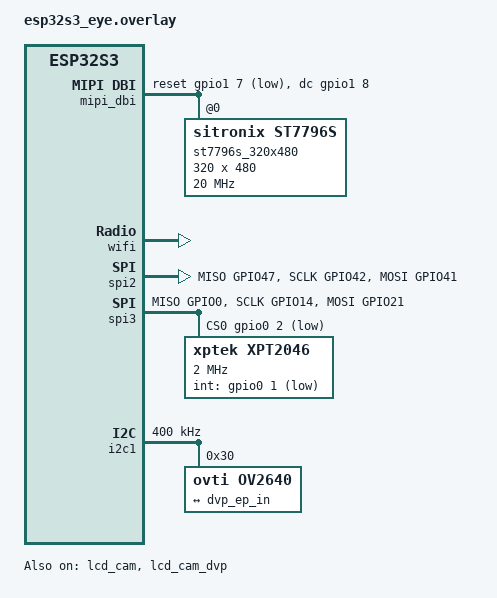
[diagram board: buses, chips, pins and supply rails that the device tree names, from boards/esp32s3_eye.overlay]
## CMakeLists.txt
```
# Устанавливаем минимально требуемую версию CMake для Zephyr.
cmake_minimum_required(VERSION 3.20.0)

# Подключаем пакет Zephyr: инициализирует всю сборочную инфраструктуру Zephyr.
# Создаём целевой объект app обладающий свойствами, зависимостями и правилами сборки.
find_package(Zephyr REQUIRED HINTS $ENV{ZEPHYR_BASE})
# Подключаем Python для Zephyr, так как он использует Python-скрипты для генерации кода.
find_package(Python REQUIRED COMPONENTS Interpreter)

# Задаём имя проекта.
project(video_server)

# Добавляем исходный файл src/main.c в целевой объект app.
target_sources(app PRIVATE src/main.c)

# Добавление подкаталога с собственной библиотекой в процесс сборки.
add_subdirectory(src/basic_functions)

# Линковка библиотеки с приложением связывает библиотеку с app.
target_link_libraries(app PRIVATE basic_functions)

# Устанавливаем переменную gen_dir — путь к каталогу сгенерированных файлов.
# Куда Zephyr и его скрипты складывают сгенерированные заголовочные файлы.
set(gen_dir ${ZEPHYR_BINARY_DIR}/include/generated/)


if(CONFIG_SERVER_TRUE)
  # Опция INCLUDE_HTML_CONTENT это CMake-переменная, которая будет использована
  # для условного включения HTML-файлов в прошивку.
  option(INCLUDE_HTML_CONTENT "Include the HTML content" ON)

  # Добавляем фрагмент скрипта компоновщика в общую сборку.
  # Этот файл определяет итерируемую ROM-секцию для дескрипторов HTTP-ресурсов.
  # Без этого файла HTTP-сервер не сможет найти зарегистрированные статические ресурсы.
  zephyr_linker_sources(SECTIONS src/static_web_resources/sections-rom.ld)

  # Zephyr создаёт специальную область памяти, где будут храниться HTTP ресурсы.
  zephyr_linker_section_ifdef(CONFIG_NET_VIDEO_HTTP_SERVICE
    NAME http_resource_desc_video_http_service
    KVMA RAM_REGION GROUP RODATA_REGION
  )

  # Цикл по списку web-ресурсов для их сжатия и дальнейшего преобразование в C-заголовочный файл с байтовым массивом.
  foreach(web_resource index.html)
    generate_inc_file_for_target(app
      src/static_web_resources/${web_resource}
      ${gen_dir}/${web_resource}.gz.inc
      --gzip
    )
  endforeach()
endif()
```

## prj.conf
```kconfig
# Включает кастомный сервис трансляции видео по WebSocket, определенный в Kconfig-файле проекта.
CONFIG_NET_VIDEO_WEBSOCKET_SERVICE=y

# Позволяет Zephyr в рантайме мониторить реальное использование стека и точно определять, если какому-то потоку начинает не хватать памяти.
CONFIG_INIT_STACKS=y
# Устанавливает размер стека главного потока main() в 4 КБ.
CONFIG_MAIN_STACK_SIZE=4096
# Размер стека системной рабочей очереди для отложенного выполнения задач.
CONFIG_SYSTEM_WORKQUEUE_STACK_SIZE=2048

# Включает интерактивную командную строку, позволяет подключаться к устройству через UART или USB-консоль и вводить команды для отладки.
CONFIG_SHELL=y
# Активирует глобальную систему логирования, которая позволяет выводить отладочные сообщения в консоль.
CONFIG_LOG=y

# Включают генераторы случайных чисел. 
# Необходимы криптографическим подсистемам и сетевому стеку для генерации случайных идентификаторов сессий и портов.
CONFIG_ENTROPY_GENERATOR=y
CONFIG_TEST_RANDOM_GENERATOR=y

# Включает встроенную в Zephyr библиотеку для работы с JSON.
CONFIG_JSON_LIBRARY=y

# Позволяет устройству выступать в роли HTTP-клиента
CONFIG_HTTP_CLIENT=y
# Активирует встроенный легковесный HTTP-сервер Zephyr для отдачи веб-страниц.
CONFIG_HTTP_SERVER=y
# Добавляет поддержку протокола WebSocket для HTTP-сервера.
CONFIG_HTTP_SERVER_WEBSOCKET=y

# Включает официальный HTTP-парсер (на базе node.js http-parser) и отдельную опцию разбора URL.
# Позволяет серверу корректно парсить входящие HTTP-запросы, заголовки и пути.
CONFIG_HTTP_PARSER_URL=y
CONFIG_HTTP_PARSER=y

# Networking config
# Главный переключатель сетевого стека Zephyr.
CONFIG_NETWORKING=y
# Включает поддержку протокола IPv4.
CONFIG_NET_IPV4=y
# Отключает IPv6 для экономии оперативной и флеш-памяти микроконтроллера.
CONFIG_NET_IPV6=n
# Включает транспортный протокол TCP (база для HTTP и WebSockets).
CONFIG_NET_TCP=y
# Включает POSIX-совместимый API сокетов (socket(), bind(), listen()), упрощающий написание сетевого кода.
CONFIG_NET_SOCKETS=y
# Менеджер сетевых подключений для координации работы интерфейсов.
CONFIG_NET_CONNECTION_MANAGER=y
# Добавляет сетевые команды в консоль (например, net iface, ping).
CONFIG_NET_SHELL=y

# Включает уровень канального доступа (Layer 2) для Ethernet-контроллеров.
CONFIG_NET_L2_ETHERNET=y
# Включает клиент DHCPv4, позволяющий устройству автоматически получать IP-адрес от роутера.
CONFIG_NET_DHCPV4=y
# Включает клиент разрешения доменных имен (DNS).
CONFIG_DNS_RESOLVER=y

# Настройка пулов памяти под сетевые пакеты (net_pkt) и блоки буферов (net_buf).
CONFIG_NET_PKT_RX_COUNT=16
CONFIG_NET_PKT_TX_COUNT=16
CONFIG_NET_BUF_RX_COUNT=128
CONFIG_NET_BUF_TX_COUNT=128
CONFIG_NET_CONTEXT_NET_PKT_POOL=y

# Network address config
# Отключение статической предконфигурации сетевых адресов.
# Поскольку выше включен DHCPv4, ручное жесткое задание IP-адресов отключено. Устройство получает параметры динамически.
CONFIG_NET_CONFIG_SETTINGS=n
CONFIG_NET_CONFIG_NEED_IPV4=n
CONFIG_NET_CONFIG_NEED_IPV6=n
# CONFIG_NET_CONFIG_MY_IPV4_ADDR="192.0.2.1"
# CONFIG_NET_CONFIG_PEER_IPV4_ADDR="192.0.2.2"
# CONFIG_NET_CONFIG_MY_IPV4_GW="192.0.2.2"
# CONFIG_NET_CONFIG_MY_IPV6_ADDR="2001:db8::1"
# CONFIG_NET_CONFIG_PEER_IPV6_ADDR="2001:db8::2"

# Убирает задержку в состоянии TIME_WAIT для закрывающихся TCP-соединений.
CONFIG_NET_TCP_TIME_WAIT_DELAY=0

# Ограничение максимального числа одновременных сетевых контекстов и TCP-соединений до 10.
# Предотвращает перерасход оперативной памяти
CONFIG_NET_MAX_CONTEXTS=10
CONFIG_NET_MAX_CONN=10

# Подсистема управления сетью и генерации событий.
# Позволяет коду приложения отслеживать системные события (например, «линк поднят», «IP получен») через колбэки.
CONFIG_NET_MGMT=y
CONFIG_NET_MGMT_EVENT=y


# General config
# Требует подключения полной стандартной библиотеки языка C (а не урезанной мини-версии вроде picolibc).
# Необходима для корректной работы сторонних библиотек и сложных алгоритмов обработки данных.
CONFIG_REQUIRES_FULL_LIBC=y
# Подсистема ввода (кнопки, датчики).
CONFIG_INPUT=y
# Включает шину SPI (используется для дисплеев или камер).
CONFIG_SPI=y
# Базовый контроль портов ввода-вывода (управление пинами).
CONFIG_GPIO=y
# CONFIG_LED=y

# Подсистема захвата и обработки видео (работа с камерами, фреймбуферами).
CONFIG_VIDEO=y
# Подсистема вывода графики на экран дисплея.
CONFIG_DISPLAY=y
# Включает UART/USB консоль для управления устройствами.
CONFIG_DEVICE_SHELL=y

# Включает быстрый вывод сообщений ядра в консоль.
CONFIG_PRINTK=y
# Включает поддержку вывода чисел с плавающей точкой (float/double) в функциях форматированного вывода (printk/printf).
CONFIG_CBPRINTF_FP_SUPPORT=y
# Гарантирует поддержку вывода float на уровне глобального форматирования.
CONFIG_REQUIRES_FLOAT_PRINTF=y

# Подключить API обёртку для POSIX (Portable Operating System Interface) стандарта.
CONFIG_POSIX_API=y
# Event File Descriptors - включает поддержку механизма POSIX-совместимого способа уведомления о событиях через файловые дескриптор.
CONFIG_EVENTFD=y

# ZVFS (Zephyr Virtual Filesystem) - мост между Zephyr и стандартами POSIX/C для работы с файлами, сокетами и устройствами.
# Значение 32 означает, что можно одновременно опрашивать до 32 сокетов или других файловых дескрипторов. 
CONFIG_ZVFS_POLL_MAX=32
# Максимальное количество событий для сетевых подсистем (HTTP-сервер, CoAP-сервер, LwM2M, PTP, SSH, socket service) .
CONFIG_ZVFS_EVENTFD_MAX=4
# Дополнительное количество слотов для открытых файловых дескрипторов для обработки одновременных клиентских соединений.
CONFIG_ZVFS_OPEN_ADD_SIZE_NET_SAMPLE=24


# Включение алгоритма хеширования SHA-1 в криптографическом бэкенде mbedTLS (через стандартизированный API PSA Crypto).
# Протокол WebSocket на этапе рукопожатия (Sec-WebSocket-Accept) требует обязательного вычисления хеша SHA-1 от специального ключа клиента.
CONFIG_PSA_WANT_ALG_SHA_1=y
CONFIG_MBEDTLS_SHA1=y
```

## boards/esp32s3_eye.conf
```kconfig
# ---------------------------------------------------------------------------------------------------------------------------------------------
# west build -p always -b esp32s3_eye/esp32s3/procpu -- -DDTC_OVERLAY_FILE=boards/esp32s3_eye.overlay -DEXTRA_CONF_FILE=boards/esp32s3_eye.conf
# ---------------------------------------------------------------------------------------------------------------------------------------------

# Указываем что платформой для проекта выбрана плата ESP32.
CONFIG_ESP32_TRUE=y
# Включаем в проект сервер.
CONFIG_SERVER_TRUE=y
# Включаем в проект дисплей.
CONFIG_DISPLAY_TRUE=y

# Включает подсистему беспроводной связи Wi-Fi в Zephyr.
CONFIG_WIFI=y
# Выделяет пул памяти размером 76 800 байт (около 75 КБ) специально под видеоданные.
CONFIG_VIDEO_BUFFER_POOL_HEAP_SIZE=76800
# Ограничивает максимальное количество одновременных видеобуферов в пуле до 2 штук.
CONFIG_VIDEO_BUFFER_POOL_NUM_MAX=2
# Включает поддержку внешней оперативной памяти (PSRAM).
CONFIG_ESP_SPIRAM=y
# Устанавливает режим работы с PSRAM памятью в Octal (8 линий данных).
CONFIG_SPIRAM_MODE_OCT=y
# Выравнивание видеобуферов по границе 32 байт.
CONFIG_VIDEO_BUFFER_POOL_ALIGN=32
# Захват видео с камеры идет через контроллер DMA (прямой доступ к памяти) без участия процессора.
# Зарезервировать в памяти место под цепочку из 64 дескрипторов для корректного захвата кадра.
CONFIG_DMA_ESP32_MAX_DESCRIPTOR_NUM=64
# Подключает менеджер разделяемой многоуровневой кучи (Shared Multi-Heap) для распределения памяти между внутренней SRAM и внешней PSRAM.
CONFIG_VIDEO_BUFFER_USE_SHARED_MULTI_HEAP=y
# Атрибут 2 указывает на пул внешней PSRAM.
CONFIG_VIDEO_BUFFER_SMH_ATTRIBUTE=2
# Размер кадра захваченого камерой.
CONFIG_VIDEO_FRAME_HEIGHT=120
CONFIG_VIDEO_FRAME_WIDTH=160
# Устанавливает формат пикселей RGBP (соответствует стандарту RGB565 — 16 бит на пиксель).
CONFIG_VIDEO_PIXEL_FORMAT="RGBP"
# Vertical Flip (зеркальное отражение по вертикали).
CONFIG_VIDEO_CTRL_VFLIP=n
# Horizontal Flip (зеркальное отражение по горизонтали).
CONFIG_VIDEO_CTRL_HFLIP=y

# Автоматический запуск DHCP-клиента при успешном подключении ESP32 к точке доступа (в режиме Station).
# Как только Wi-Fi устанавливает соединение с роутером, стек автоматически запрашивает IP-адрес,
CONFIG_ESP32_WIFI_STA_AUTO_DHCPV4=y

# Перенаправление выделения памяти для Wi-Fi драйвера Espressif во внутреннюю системную кучу Zephyr.
CONFIG_ESP_WIFI_HEAP_SYSTEM=y
```

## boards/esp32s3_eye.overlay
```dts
// ---------------------------------------------------------------------------------------------------------------------------------------------
// west build -p always -b esp32s3_eye/esp32s3/procpu -- -DDTC_OVERLAY_FILE=boards/esp32s3_eye.overlay -DEXTRA_CONF_FILE=boards/esp32s3_eye.conf
// ---------------------------------------------------------------------------------------------------------------------------------------------

/* ----------------------|  Display  |---------------------  */
/* https://www.lcdwiki.com/4.0inch_SPI_Module_ST7796 */

// MIPI DBI (Display Bus Interface) - универсальный драйвер-адаптер для управления LCD-контроллерами через SPI.
#include <zephyr/dt-bindings/mipi_dbi/mipi_dbi.h>

/* Узел chosen - Zephyr узел, который указывает какие устройства использовать в этом приложении. */
/ {
    	chosen {
		/* Свойство zephyr,display -  Ключ (property name) в формате vendor,property
			- vendor = zephyr (производитель/namespace)
			- property = display (сущность, которую описывает свойство)
		Присваивание значения - phandle (указатель на узел)
			- & - оператор взятия ссылки на узел
			- st7796s_320x480 - label (метка) другого узла в DTS */
        zephyr,display = &st7796s_320x480;

		/* Свойство zephyr,camera -  Ключ (property name) в формате vendor,property
			- vendor = zephyr (производитель/namespace)
			- property = camera (сущность, которую описывает свойство)
		Присваивание значения - phandle (указатель на узел)
			- & - оператор взятия ссылки на узел
			- lcd_cam_dvp - label (метка) другого узла в DTS */
		zephyr,camera = &lcd_cam_dvp;

		/* Свойство zephyr,touch - обязательно для sample draw_touch_events
		(README сэмпла явно требует, чтобы были заданы оба chosen: zephyr,display И zephyr,touch).
			- vendor = zephyr
			- property = touch
		Присваивание значения - phandle на узел xpt2046, объявленный ниже, внутри &spi3
		(отдельная от дисплея SPI-шина, см. пояснение у узла &spi3). */
		zephyr,touch = &xpt2046;
    	};


	/* Узел mipi_dbi реализует транспортный уровень между:
		- драйвером дисплейного контроллера ST7796S
		- SPI-контроллером ESP32
		- GPIO сигналами (DC, RESET) */
    	mipi_dbi {
		// Использовать драйвер mipi_dbi_spi
		compatible = "zephyr,mipi-dbi-spi";
		// Определить SPI контроллер через ссылку на узел spi2 в devicetree.
		spi-dev = <&spi2>;
		// Определить пин для переключения режима SPI передачи (DC (Data/Command)).
		dc-gpios = <&gpio1 8 GPIO_ACTIVE_HIGH>;  // DC/RS pin
		// Определить пин для аппаратного reset дисплея.
        reset-gpios = <&gpio1 7 GPIO_ACTIVE_LOW>;   // RESET pin
		// Адрес устройства на шине занимает одну 32-битную ячейку.
		#address-cells = <1>;
		// Размер не задаётся (SPI-устройства не имеют диапазона адресов).
		#size-cells = <0>;

		/* Объявление узла st7796s_320x480 дисплея:
		- st7796s_320x480: - Label (метка) для этого узла, используется для ссылок.
		- st7796s@0 - Имя узла в формате name@unit-address
			+ st7796s - имя (произвольное, описательное)
			+ @ - разделитель
			+ 0 - unit address (адрес устройства на шине), взят из datasheet.*/
		st7796s_320x480: st7796s@0 {
			// Использовать драйвер дисплея "sitronix,st7796s".
			compatible = "sitronix,st7796s";
			// Включить устройство.
			status = "okay";
			// Адрес устройства на шине, взят из datasheet.
            		reg = <0>;
			// Максимальная тактовая частота SPI для дисплея.
			mipi-max-frequency = <20000000>;
			// 4 линии для SPI: CLK, MOSI, MISO, CS + отдельный DC пин.
			mipi-mode = "MIPI_DBI_MODE_SPI_4WIRE";
			// Ширина дисплея.
			width = <320>;
			// Высота дисплея.
			height = <480>;

			/* Регистр в контроллере дисплея через который задаются параметры:
			 * D7 - зеркалит по вертикали (Y).
			 * D6 - зеркалит по горизонтали (X).
			 * D5 - меняет X и Y местами (поворот на 90°).
			 * D4 - Направление обновления (сверху вниз или снизу вверх).
			 * D3 - Порядок цветов в памяти (RGB-BGR).
			 * D2 - Направление обновления по горизонтали.
			 * D1 - Не используется (Reserved).
			 * D0 - Не используется (Reserved).
			 * D7 D6 D5 D4 D3 D2 D1 D0
			 * 0  1  1  0  1  0  0  0  ==  104 (перевод из двоичной в десятичную)
			 * 1  1  0  0  1  0  0  0  ==  200 (перевод из двоичной в десятичную)*/
			// madctl = <104>;
			madctl = <72>;
			// madctl = <40>;

			// Настройка gamma curve для ярких цветов.
			//pgc = [00];
			pgc = [D0 06 0C 0E 09 0B 38 34 48 05 13 14 10 14];

			// Настройка gamma curve для тёмных цветов.
			//ngc = [00];
			ngc = [D0 01 06 0C 0C 0F 31 3F 47 0A 16 16 17 16];
		};
	};
};


/* Включаем wifi на плате. */
&wifi {
    status = "okay";
};

/* Переопределяем базовый узел spi2 описывающий SPI контроллер ТОЛЬКО для дисплея.
 * Тач-панель сюда больше НЕ подключаем - см. &spi3 ниже.
 *
 * ПОЧЕМУ: в драйвере ESP32 SPI (spi_esp32_spim.c) есть известный, подтверждённый
 * race condition при использовании нескольких программных cs-gpios на одной шине -
 * CS одного устройства не всегда корректно деактивируется перед транзакцией другого,
 * из-за чего оба чипа временно оказываются выбраны одновременно и конфликтуют на общей
 * линии MISO (мы поймали это осциллографом: CS дисплея дёргался во время транзакций
 * тача, а MISO не проваливался до 0В, а зависал на промежуточном уровне ~1.5В - явный
 * признак коллизии двух выходов на одной линии). См. github.com/zephyrproject-rtos/zephyr
 * issue #65635 ("SPI: ESP32: chip-select misbehaviour with multiple gpio-cs") и issue
 * #100069 (похожая проблема конкретно с mipi-dbi-spi на ESP32-S3). Самое надёжное
 * решение - развести устройства по разным аппаратным SPI-контроллерам (spi2/spi3),
 * а не делить один контроллер несколькими cs-gpios. */
&spi2 {
	// Адрес устройства на шине занимает одну 32-битную ячейку.
	#address-cells = <1>;
	// Размер не задаётся (SPI-устройства не имеют диапазона адресов).
	#size-cells = <0>;
	// Привязка к конфигурации пинов.
	pinctrl-0 = <&spi2_custom_pins>;
	pinctrl-names = "default";
	// Включить устройство.
    status = "okay";
	// Единственное устройство на шине - дисплей, поэтому один CS достаточно и
	// гонка между несколькими cs-gpios здесь в принципе невозможна.
	cs-gpios = <&gpio1 6 GPIO_ACTIVE_LOW>;   /* CS0: дисплей ST7796 (GPIO38, как и было изначально) */
};

/* Переопределяем конфигурацию пинов SPI2 (только дисплей). */
&pinctrl {
    spi2_custom_pins: spi2_custom_pins {
        group1 {
			pinmux = <SPIM2_MISO_GPIO47>,     // MISO pin (SDO on display)
				     <SPIM2_SCLK_GPIO42>;      // SCK pin
		};
		group2 {
			pinmux = <SPIM2_MOSI_GPIO41>;      // MOSI pin (SDI on display)
			output-low;
		};
    };
};

/* ----------------------|  TOUCH XPT2046 (отдельная шина SPI3)  |---------------------  */

/* Тач-панель посажена на ВТОРОЙ независимый аппаратный SPI-контроллер (spi3), а не
 * на spi2 вместе с дисплеем. Так как на этой шине только одно устройство, гонка между
 * несколькими cs-gpios (см. пояснение у &spi2 выше) физически невозможна - конфликтовать
 * попросту не с чем.
 *
 * ВНИМАНИЕ: T_CLK/T_DIN/T_DO нужно физически перепаять/перекинуть проводом с GPIO42/41/47
 * (где они были при разделяемой шине) на GPIO14/21/19 ниже. T_CS (GPIO2) и T_IRQ (GPIO1)
 * менять не нужно - осциллограф уже подтвердил, что они физически подключены верно и
 * работают (T_IRQ корректно падает при касании, T_CS корректно даёт короткий импульс).
 *
 * GPIO14 и GPIO21 - это обычные, не strapping GPIO на ESP32-S3, в этом проекте нигде
 * больше не заняты (камера/дисплей/PSRAM/Flash их не используют). GPIO19 - это, как
 * правило, вывод USB D- (native USB OTG); большинство CAM-плат на базе ESP32-S3-CAM
 * используют для прошивки/UART отдельный USB-UART мост (CP2102/CH340), а не native USB,
 * и тогда GPIO19/20 свободны - но это НУЖНО проверить по схеме именно вашей платы. Если
 * сомневаетесь - замените GPIO19 на любой другой проверенно свободный пин. */
&spi3 {
	#address-cells = <1>;
	#size-cells = <0>;
	status = "okay";
	pinctrl-0 = <&spi3_custom_pins>;
	pinctrl-names = "default";
	// Единственное устройство на шине - тач, поэтому один CS достаточно.
	cs-gpios = <&gpio0 2 GPIO_ACTIVE_LOW>;   /* CS0: тач-панель T_CS (GPIO2) */

	xpt2046: xpt2046@0 {
		// Драйвер xptek,xpt2046 (drivers/input/input_xpt2046.c)
		compatible = "xptek,xpt2046";
		// Единственное устройство на шине spi3 -> индекс 0 в cs-gpios.
		reg = <0>;
		// Макс. частота SPI для XPT2046 (датащит допускает до ~2 МГц-2.5МГц в этом режиме чтения).
		spi-max-frequency = <2000000>;
		// T_IRQ (PENIRQ) - открытый сток, активный низкий уровень при касании.
		int-gpios = <&gpio0 1 GPIO_ACTIVE_LOW>;
		// Логическое разрешение, в которое драйвер маппит "сырые" координаты АЦП.
		// Взято равным width/height дисплея (320x480), см. узел st7796s_320x480 выше.
		touchscreen-size-x = <320>;
		touchscreen-size-y = <480>;
		// Диапазон "сырых" значений АЦП XPT2046 (12-бит -> 0..4095).
		// Это стартовые значения "по датащиту" - реальный рабочий диапазон обычно уже
		// (например 200..3900) и может требовать инверсии/свопа осей в зависимости от
		// физической ориентации панели относительно madctl дисплея. Требуется калибровка
		// через сам сэмпл draw_touch_events (по нему легко увидеть инверсию/своп осей).
		min-x = <0>;
		min-y = <0>;
		max-x = <4095>;
		max-y = <4095>;
	};
};

&pinctrl {
	spi3_custom_pins: spi3_custom_pins {
		group1 {
			pinmux = <SPIM3_MISO_GPIO0>,       // T_DO  (было GPIO47, ПЕРЕПАЯТЬ - проверить свободен ли GPIO19)
				     <SPIM3_SCLK_GPIO14>;      // T_CLK (было GPIO42, ПЕРЕПАЯТЬ)
		};
		group2 {
			pinmux = <SPIM3_MOSI_GPIO21>;      // T_DIN (было GPIO41, ПЕРЕПАЯТЬ)
			output-low;
		};
	};
};

// Отключить дисплей предусмотренный по умолчанию.
&st7789v {
    status = "disabled";
};

/* ----------------------|  CAMERA OV2640  |---------------------  */


/* ESP32-S3 DVP-контроллер использует DMA для передачи пикселей с модуля камеры в PSRAM/SRAM микроконтроллера без участия CPU. */
&dma {
	// Включить устройство.
	status = "okay";
};

/* Переопределяем базовый узел i2c1 описывающий I2C контроллер для камеры. */
&i2c1 {
	// Включить устройство.
	status = "okay";
	// Частота работы I2C шины в Герцах. (I2C_BITRATE_FAST = 400000 (400 kHz (400,000 Hz)))
	clock-frequency = <I2C_BITRATE_FAST>; // <I2C_BITRATE_STANDARD>
	// Привязка к конфигурации пинов.
	pinctrl-0 = <&i2c1_default>;
	pinctrl-names = "default";

	/* Объявление узла OV2640 камеры
		- ov2640: - Label (метка) для этого узла
		- ov2640@30 - Имя узла в формате name@unit-address
			+ ov2640 - имя (произвольное, описательное)
			+ @ - разделитель
			+ 30 - unit address (адрес устройства на шине), взят из datasheet для OV2640.*/
	ov2640: ov2640@30 {
		// Использовать драйвер камеры "sitronix,st7796s".
		compatible = "ovti,ov2640";
		// Адрес устройства на шине I2C, взят из datasheet для OV2640.
		reg = <0x30>;
		// Включить устройство.
		status = "okay";
		// Дополнительный контроль частоты, специфичное для OV2640 свойство.
		clock-rate-control = <0x80>;

		/* Узел port - Video Graph binding.
			- Специальная структура для описания видео-потоков, описывает соединения между видео-компонентами.*/
		port {
			/* Узел endpoint - точка подключения
				- ov2640_ep_out: - Label для endpoint (ep = endpoint, out = выходной (от камеры наружу))
				- endpoint - стандартное имя узла для Video Graph */
			ov2640_ep_out: endpoint {
				// Связь с другим endpoint, указывает на label endpoint на другой стороне соединения.
				remote-endpoint = <&dvp_ep_in>;
			};
		};
	};
};


/* Универсальный периферийный контроллер, который может работать в двух режимах:
 *  LCD mode  → управление дисплеями / CAM mode  → интерфейс камеры  */
&lcd_cam {
	// Включить устройство.
	status = "okay";
	// Привязка к конфигурации пинов (включает все пины камеры).
	pinctrl-0 = <&lcd_cam_default>;
	pinctrl-names = "default";
};

/* DCMI (Digital Camera Module Interface (аппаратный модуль для захвата видео, принимает параллельный поток от камеры))
 * DVP (Digital Video Port (параллельный интерфейс камеры))
	- &lcd_cam_dvp - ссылка на DCMI контроллер */
&lcd_cam_dvp {
	// Включить устройство.
	status = "okay";
	// Частота тактирования XCLK, подаваемая ESP32-S3 на вход камеры OV2640
	// cam-clk = <10000000>; // <8000000>
	cam-clk = <4000000>;
	// Указывает, что источником видеопотока для DVP является OV2640.
	source = <&ov2640>;

	/* Узел port - Video Graph binding.
		- Специальная структура для описания видео-потоков, описывает соединения между видео-компонентами. */
	port {
		/* Узел endpoint - точка подключения
			- dvp_ep_in: - Label для endpoint
			- endpoint - стандартное имя узла для Video Graph*/
		dvp_ep_in: endpoint {
			// Указывает на камеру: Данные от ov2640_ep_out поступают сюда
			remote-endpoint = <&ov2640_ep_out>;
			// Ширина шины данных, количество линий данных между камерой и DCMI (8-bit параллельная шина)
			bus-width = <8>;
			// Камера подает импульс в начале каждой горизонтальной линии пикселей (Полярность [<0> = low, <1> = high])
			hsync-active = <0>;
			// Камера подает импульс в начале каждого кадра (Полярность [<0> = low, <1> = high])
			vsync-active = <0>;
			// На каком фронте Pixel Clock захватывать данные ([<0> = falling edge, <1> = rising edge])
			pclk-sample = <1>;
		};
	};
};




/* Распиновка для устройств:

	ST7796S          →    ESP32-S3
	────────────────────────────────
	VCC     (3.3V!)  →    3V3
	GND              →    GND
	CS               →    GPIO38
	RESET            →    GPIO39
	DC/RS            →    GPIO40
	SDI (MOSI)       →    GPIO41
	SCK              →    GPIO42
	LED              →    3V3 (через резистор 150Ω)
	SDO (MISO)       →    GPIO47 (опционально)

	XPT2046 (touch)  →    ESP32-S3     (ОТДЕЛЬНАЯ шина SPI3, НЕ общая с дисплеем!)
	────────────────────────────────
	T_CLK            →    GPIO14  (ПЕРЕПАЯТЬ с GPIO42 - проверить, что пин свободен на вашей плате)
	T_CS             →    GPIO2   (не менять, уже подтверждено осциллографом)
	T_DIN            →    GPIO21  (ПЕРЕПАЯТЬ с GPIO41 - проверить, что пин свободен на вашей плате)
	T_DO             →    GPIO0  (ПЕРЕПАЯТЬ с GPIO47 - проверить, что не задействован под native USB)
	T_IRQ            →    GPIO1   (не менять, уже подтверждено осциллографом)

	ESP32S3 →   CAMERA
	────────────────────────
	GPIO4      →   CAM_SIOD
	GPIO5      →   CAM_SIOC
	GPIO6      →   CAM_VYSNC
	GPIO7      →   CAM_HREF
	GPIO15     →   CAM_XCLK
	GPIO16     →   CAM_Y9
	GPIO17     →   CAM_Y8
	GPIO18     →   CAM_Y7
	GPIO8      →   CAM_Y4
	GPIO9      →   CAM_Y3
	GPIO10     →   CAM_Y5
	GPIO11     →   CAM_Y2
	GPIO12     →   CAM_Y6
	GPIO13     →   CAM_PCLK
*/
```

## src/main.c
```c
/********************************************
    Подготовил: Степанюк Денис Борисович
********************************************/

// Стандартный ввод-вывод для логирования
#include <stdio.h>
// Макросы для форматирования целых чисел фиксированного размера.
#include <inttypes.h>
// Основные функции RTOS: потоки, таймеры, семафоры
#include <zephyr/kernel.h>
// Системные утилиты: BIT(), ARRAY_SIZE(), STRINGIFY(), и т.д.
#include "zephyr/sys/util.h"
// Парсинг и генерация JSON.
#include <zephyr/data/json.h>
// Дополнительные макросы (BIT_MASK(n) — маска из n единичных битов. BIT_MASK(2) = 0b11 = 3 (используется для проверки результата json_obj_parse)).
#include <zephyr/sys/util_macro.h>
// Работа с кэшем процессора.
#include <zephyr/cache.h>
// Используется для DEVICE_DT_GET_ANY() — получить указатель на устройство из Device Tree.
#include <zephyr/device.h>
// API видеоподсистемы: video_dequeue, video_enqueue, video_stream_start
#include <zephyr/drivers/video.h>
// Элементы управления камеры (яркость, экспозиция и т.д.)
#include <zephyr/drivers/video-controls.h>
// Логика видеоподсистемы.
#include "video.h"

// Регистрируем модуль логирования.
#include <zephyr/logging/log.h>
LOG_MODULE_REGISTER(MAIN_LOG, LOG_LEVEL_DBG);

// Код компилируется только при включённом через конфиг дисплее в проект.
#if defined(CONFIG_DISPLAY_TRUE)
    // Драйвер дисплея.
    #include <zephyr/drivers/display.h>
    // Логика работы с дисплеем.
    #include "display.h"
#endif /* CONFIG_DISPLAY_TRUE */  

// Код компилируется только при включённом через конфиг сервере в проект.
#if defined(CONFIG_SERVER_TRUE)
    // Логика WebSocket-сервера.
    #include "server.h"
    /* Высокоуровневая подсистема HTTP-сервера для Zephyr
    - Принимает TCP соединения
    - Парсит HTTP запросы
    - Маршрутизирует по URL → вызывает нужный handler
    - Выполняет WebSocket Upgrade (SHA1, Base64 — скрыто внутри)
    - Управляет потоками клиентов*/
    #include <zephyr/net/http/server.h>
    // Макросы для объявления HTTP/HTTPS сервисов и ресурсов:
    #include <zephyr/net/http/service.h>
    // Работа с IP-адресами и вспомогательными функциями сетевого стека. Нужен для типов адресов (sockaddr_in и т.д.) которые использует сервис.
    #include <zephyr/net/net_ip.h>
    // BSD Sockets API (zsock_*). Используется внутри WebSocket-колбэков для низкоуровневой работы с сокетами (websocket_send_msg и др.).
    #include <zephyr/net/socket.h>
    // Инициализация сетевого стека через конфиг. Используется только при CONFIG_USB_DEVICE_STACK_NEXT.
    #include <zephyr/net/net_config.h>

    // Код компилируется при условии что платформой для проекта выбрана плата STM32.
    #if defined(CONFIG_STM32_TRUE)
        // Логика подключения к интернету по dhcp.
        #include "dhcp.h"
    #endif /* CONFIG_STM32_TRUE */

    // Код компилируется при условии что платформой для проекта выбрана плата ESP32.
    #if defined(CONFIG_ESP32_TRUE)
        // Логика подключения к интернету по wifi.
        #include "wifi.h"

        /* Параметры WiFi */
        #define WIFI_SSID "NAME"
        #define WIFI_PSK "PASSWORD"
    #endif /* CONFIG_ESP32_TRUE */

    /* Сжатая gzip-версия главной HTML страницы. Файл index.html во время сборки преобразуется в массив байтов и вшивается непосредственно в прошивку.*/
    static const uint8_t index_html_gz[] = {
    #include "index.html.gz.inc"
    };

    /* Описание статического HTTP ресурса. При запросе: GET / 
    HTTP Server автоматически отправит содержимое index_html_gz без вызова пользовательского обработчика.*/
    static struct http_resource_detail_static index_html_gz_resource_detail = {
        .common = {
                .type = HTTP_RESOURCE_TYPE_STATIC, // Тип ресурса: статический файл. HTTP Server сам отправит данные без вызова колбэка.
                .bitmask_of_supported_http_methods = BIT(HTTP_GET), // Поддерживаемые HTTP-методы — битовая маска.
                .content_encoding = "gzip", // HTTP заголовок Content-Encoding: gzip. Говорит браузеру что данные сжаты gzip → браузер распакует.
                .content_type = "text/html", // HTTP заголовок Content-Type: text/html. Браузер будет рендерить как HTML.
            },
        .static_data = index_html_gz, // Указатель на данные (наш gzip-массив).
        .static_data_len = sizeof(index_html_gz), // Размер данных в байтах — сервер отправит ровно столько байт.
    };

    // Блок компилируется только при CONFIG_NET_VIDEO_WEBSOCKET_SERVICE=y в prj.conf. Это позволяет собирать проект без WebSocket если он не нужен.
    #if defined(CONFIG_NET_VIDEO_WEBSOCKET_SERVICE)

    /* Буфер WebSocket подсистемы. Используется HTTP Server во время обработки входящих
    WebSocket сообщений. Видеокадры через этот буфер НЕ передаются.*/
    static uint8_t ws_net_video_buffer[128];

    /* Описание WebSocket ресурса.
    После подключения клиента вызывается: ws_net_video_setup() которая запускает периодическую отправку видеокадров.*/
    struct http_resource_detail_websocket ws_net_video_resource_detail = {
        .common = {
                .type = HTTP_RESOURCE_TYPE_WEBSOCKET, // Тип ресурса: WebSocket.
                .bitmask_of_supported_http_methods = BIT(HTTP_GET), // WS-апгрейд начинается с GET-запроса.
            },
        .cb = ws_net_video_setup, // Колбэк: запускает поток, шлющий видеокадры клиенту.
        .data_buffer = ws_net_video_buffer, // Буфер под входящие WS-сообщения.
        .data_buffer_len = sizeof(ws_net_video_buffer), // Размер этого буфера (128 байт).
        .user_data = NULL, // Пользовательские данные не нужны.
    };

    #endif /* CONFIG_NET_VIDEO_WEBSOCKET_SERVICE */

    /* Декларативная регистрация сервера. С помощью макросов собираем "дерево" веб-сервера. 
       Во время компиляции Zephyr сложит их в специальную секцию памяти, и сервер запустится автоматически.*/
    #if defined(CONFIG_NET_VIDEO_HTTP_SERVICE)
    // TCP порт для HTTP сервера. По умолчанию CONFIG_NET_VIDEO_HTTP_SERVER_SERVICE_PORT=80.
    static uint16_t video_http_service_port = CONFIG_NET_VIDEO_HTTP_SERVER_SERVICE_PORT;

    /* Регистрация HTTP сервиса. После вызова http_server_start() сервер автоматически найдёт
    этот сервис и начнёт принимать подключения. */
    HTTP_SERVICE_DEFINE(video_http_service, // Имя сервиса (уникальный идентификатор)
                        NULL, // IP-адрес для привязки (NULL = INADDR_ANY)
                        &video_http_service_port, // Указатель на порт.
                        CONFIG_HTTP_SERVER_MAX_CLIENTS, // Макс. одновременных клиентов из prj.conf.
                        10,  // Backlog (очередь ожидающих соединений)
                        NULL, // Колбэк при старте (не нужен)
                        NULL, // Колбэк при остановке (не нужен)
                        NULL); // Пользовательские данные

    /*  Главная HTML страница.
        HTTP_RESOURCE_DEFINE — макрос, привязывающий URL к ресурсу (статическому, динамическому или WebSocket).*/
    HTTP_RESOURCE_DEFINE(index_html_gz_resource, video_http_service, "/", &index_html_gz_resource_detail);

    #if defined(CONFIG_NET_VIDEO_WEBSOCKET_SERVICE)
    // WebSocket-ресурсы регистрируются точно так же: URL может быть любым, не конфликтующим.
    HTTP_RESOURCE_DEFINE(ws_net_video_resource, video_http_service, "/", &ws_net_video_resource_detail);
    #endif /* CONFIG_NET_VIDEO_WEBSOCKET_SERVICE */
    #endif /* CONFIG_NET_VIDEO_HTTP_SERVICE */

#endif /* CONFIG_SERVER_TRUE */




int main(void)
{
    // Устройство камеры, выбранное в Device Tree через /chosen { zephyr,camera = ... }.
    const struct device *const video_dev   = DEVICE_DT_GET(DT_CHOSEN(zephyr_camera));

    // Код компилируется только при включённом через конфиг дисплее в проект.
    #if defined(CONFIG_DISPLAY_TRUE)
        // Устройство дисплея из Device Tree (/chosen zephyr,display).
        const struct device *const display_dev = DEVICE_DT_GET_OR_NULL(DT_CHOSEN(zephyr_display));
    #endif /* CONFIG_DISPLAY_TRUE */  

    // Указатель на буфер кадра. Изначально указывает на пустую структуру; video_dequeue() перезапишет его.
    struct video_buffer *vbuf = &(struct video_buffer){};
    // Указываем тип буфера — выходной (кадры идут от камеры к приложению).
    vbuf->type = VIDEO_BUF_TYPE_OUTPUT;
    // Формат кадра (разрешение, pixelformat). Заполнится при инициализации камеры.
    struct video_format fmt   = { .type = VIDEO_BUF_TYPE_OUTPUT };
    // Возможности камеры (поддерживаемые форматы и т.п.). Заполнятся при инициализации.
    struct video_caps   caps  = { .type = VIDEO_BUF_TYPE_OUTPUT };
    // Переменная для хранения кодов возврата.
    int ret;

    // Выполнить полный цикл инициализации видеоустройства (камеры) перед запуском видеопотока.
    ret = app_init_video(video_dev, &caps, &fmt);
    if (ret < 0) { goto err; }

    // Код компилируется только при включённом через конфиг дисплее в проект.
    #if defined(CONFIG_DISPLAY_TRUE)
        // Проверка: описан ли дисплей в Device Tree.
        if (DT_HAS_CHOSEN(zephyr_display)) {
            // Настраиваем дисплей под формат пикселей камеры.
            ret = app_setup_display(display_dev, fmt.pixelformat);
            if (ret < 0) { goto err; }
            // Очищаем экран перед началом вывода от шумов.
            ret = app_clear_display(display_dev);
            if (ret < 0) { goto err; }
        }
    #endif /* CONFIG_DISPLAY_TRUE */  

    // Поднимаем сеть, DHCP или WiFi, в зависимости от того какая платформа была выбрана для проекта.
    // Код компилируется только при включённом через конфиг сервере в проект.
    #if defined(CONFIG_SERVER_TRUE)
        // Код компилируется при условии что платформой для проекта выбрана плата STM32.
        #if defined(CONFIG_STM32_TRUE)
            // Указатель на сетевой интерфейс (Ethernet).
            struct net_if *iface;
            // Инициализируем колбэк: handler вызовется, когда интерфейсу назначат IPv4-адрес.
            net_mgmt_init_event_callback(&mgmt_cb, handler, NET_EVENT_IPV4_ADDR_ADD);
            // Регистрируем колбэк в сетевом менеджере событий.
            net_mgmt_add_event_callback(&mgmt_cb);
            // Получаем сетевой интерфейс по умолчанию.
            iface = net_if_get_default();
            // Запускаем DHCP-клиент (адрес придёт асинхронно). 
            net_dhcpv4_start(iface);
        #endif /* CONFIG_STM32_TRUE */

        // Код компилируется при условии что платформой для проекта выбрана плата ESP32.
        #if defined(CONFIG_ESP32_TRUE)
            // Регистрируем WiFi-колбэки.
            wifi_init();

            /* 2. Запускаем подключение к роутеру */
            printk("Connecting to WiFi: %s\r\n", WIFI_SSID);
            if (wifi_connect(WIFI_SSID, WIFI_PSK) != 0) {
                printk("Error: WiFi connect failed\r\n");
                return 0;
            }

            /* 3. Ждем получения IP-адреса от DHCP (блокирующе) */
            wifi_wait_for_ip_addr();
            printk("WiFi Connected and IP obtained! Starting HTTP Server...\n");
        #endif /* CONFIG_ESP32_TRUE */
        // -----------------------------------------------------------------
   
        // ГЛАВНАЯ ФУНКЦИЯ — запускает HTTP/WebSocket сервер.
        http_server_start();
    #endif /* CONFIG_SERVER_TRUE */

    // Запуск видеопотока камеры, камера начинает захватывать кадры в буферы через DMA.
    LOG_INF("Capture started");
    ret = video_stream_start(video_dev, VIDEO_BUF_TYPE_OUTPUT);
    if (ret < 0) {
        LOG_ERR("Unable to start capture (interface)");
        goto err;
    }
	/* ============================================================
     * ГЛАВНЫЙ ЦИКЛ ЗАХВАТА КАДРОВ
     *   1. video_dequeue() — извлечь готовый кадр
     *   2. (опционально) memcpy → k_sem_give — передать кадр для дальнейшей обработки
     *   3. video_enqueue() — вернуть буфер драйверу
     * ============================================================ */
    while (1) {
        /* Блокирующее ожидание следующего готового кадра от камеры. */
        ret = video_dequeue(video_dev, &vbuf, K_FOREVER);
        if (ret < 0) {
            LOG_ERR("Unable to dequeue video buf");
            goto err;
        }

        // Код компилируется только при включённом через конфиг сервере в проект.
        #if defined(CONFIG_SERVER_TRUE)
            /* Если предыдущий кадр отправлен */
            if (atomic_cas(&frame_is_sended, 1, 0)) {

                /* Инвалидируем D-Cache, чтобы процессор прочитал из RAM свежие данные DMA */
                sys_cache_data_invd_range(vbuf->buffer, SHARED_FRAME_BUF_SIZE);
                /* Копируем кадр из буфера камеры в общий буфер для сетевого потока. */
                memcpy(shared_frame_buf, vbuf->buffer, SHARED_FRAME_BUF_SIZE);
                // Сбрасываем кэш в RAM, чтобы сетевой стек/DMA увидел записанные нами данные.
                sys_cache_data_flush_range(shared_frame_buf, SHARED_FRAME_BUF_SIZE);
                // Сообщаем отправляющему потоку реальный размер кадра.
                shared_frame_bytesused = SHARED_FRAME_BUF_SIZE;
                //  Будим поток WebSocket: разрешаем отпраку кадра по соединению вебсокетов.
                k_sem_give(&allowed_2_send);
            }
        #endif /* CONFIG_SERVER_TRUE */

        // Код компилируется только при включённом через конфиг дисплее в проект.
        #if defined(CONFIG_DISPLAY_TRUE)
            // Проверка дисплея (если он задан в Device Tree).
            if (DT_HAS_CHOSEN(zephyr_display)) {
                // Вывести один видеокадр из буфера камеры на дисплей.
                ret = app_display_frame(display_dev, vbuf, &fmt);
                if (ret != 0) {
                    LOG_WRN("Failed to display this frame");
                }
            }
        #endif /* CONFIG_DISPLAY_TRUE */    

        /* Возвращаем буфер видеодрайверу для следующего захвата DMA.
         * После этого vbuf->buffer принадлежит драйверу — не трогаем! */
        ret = video_enqueue(video_dev, vbuf);
        if (ret < 0) {
            LOG_ERR("Unable to requeue video buf");
            goto err;
        }
    }

err:
    LOG_ERR("Aborting sample");
    return 0;
}
```
